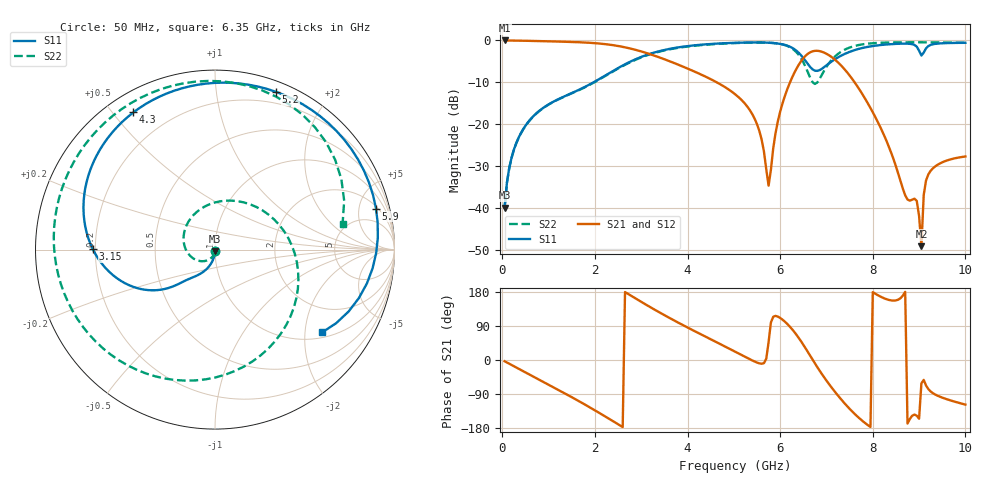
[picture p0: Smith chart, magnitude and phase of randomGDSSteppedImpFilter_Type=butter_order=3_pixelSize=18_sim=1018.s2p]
! freq	dB(S11)	phase(S11)	dB(S12)	phase(S12)
!  dB(S21)	phase(S21)	dB(S22)	phase(S22)
!S-par simulation data
#  GHz  S  DB  R 50
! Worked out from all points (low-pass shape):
!   200 points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, 50 MHz to 10 GHz, reference 50 ohm
!   highest |S21| = -0.01 dB at 50 MHz (marker M1); lowest = -49.2 dB at 9.05 GHz (marker M2)
!   |S21| within 3 dB of the highest: start of sweep to 3.113 GHz; 6.624 GHz to 6.967 GHz (342.9 MHz wide, 5.05 % of centre)
!   lowest |S11| = -40.0 dB at 50 MHz (marker M3), VSWR 1.02, Z = 50 - j1.01 ohm
!   |S11| at or under -10 dB: start of sweep to 1.972 GHz
!   |S22| runs from -40.0 to -0.4 dB; largest |S21 - S12| = 0
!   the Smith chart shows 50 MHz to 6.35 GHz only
!   S11 on the Smith chart (normalised r, x): 50 MHz: 1.00, -0.02; 3.15 GHz: 0.19, +0.00; 4.3 GHz: 0.08, +0.57; 5.2 GHz: 0.09, +1.46; 5.9 GHz: 2.28, +7.28; 6.35 GHz: 1.15, -2.45
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0.05  -39.95 -90.3  -0.01 -3.3  -0.01 -3.3  -39.98 -93.0
0.5  -20.38 -108.9  -0.08 -32.5  -0.08 -32.5  -20.43 -137.0
1.75  -11.30 -136.3  -0.48 -115.2  -0.48 -115.2  -11.38 84.4
2.45  -6.91 -150.3  -1.23 -165.8  -1.23 -165.8  -7.03 -2.9
3.15  -3.34 179.9  -3.14 142.7  -3.14 142.7  -3.46 -76.1
3.4  -2.54 167.4  -4.09 125.2  -4.09 125.2  -2.65 -98.4
4.3  -1.02 120.7  -8.19 67.1  -8.19 67.1  -1.11 -167.4
5.05  -0.56 78.3  -13.06 20.6  -13.06 20.6  -0.62 141.3
5.2  -0.52 68.8  -14.62 11.1  -14.62 11.1  -0.57 130.8
5.55  -0.48 44.3  -21.60 -8.8  -21.60 -8.8  -0.51 104.7
5.75  -0.54 28.0  -34.70 46.8  -34.70 46.8  -0.55 87.8
5.9  -0.67 14.3  -22.17 116.4  -22.17 116.4  -0.68 73.5
6.35  -2.45 -37.8  -6.81 67.0  -6.81 67.0  -2.79 11.4
6.7  -6.91 -70.1  -2.60 0.9  -2.60 0.9  -9.98 -97.4
7.05  -5.53 -97.1  -3.51 -62.7  -3.51 -62.7  -5.49 138.6
7.6  -2.34 167.0  -9.88 -141.2  -9.88 -141.2  -1.35 71.3
8.35  -0.92 73.7  -25.47 158.5  -25.47 158.5  -0.50 19.9
8.95  -1.49 20.9  -38.35 -147.0  -38.35 -147.0  -0.44 -9.2
9.05  -3.61 22.0  -49.16 -61.6  -49.16 -61.6  -0.44 -13.5
9.1  -2.91 29.5  -36.92 -52.5  -36.92 -52.5  -0.45 -15.6
9.2  -1.35 24.0  -32.00 -76.7  -32.00 -76.7  -0.46 -19.7
10  -0.57 -20.8  -27.73 -117.7  -27.73 -117.7  -0.55 -49.6
